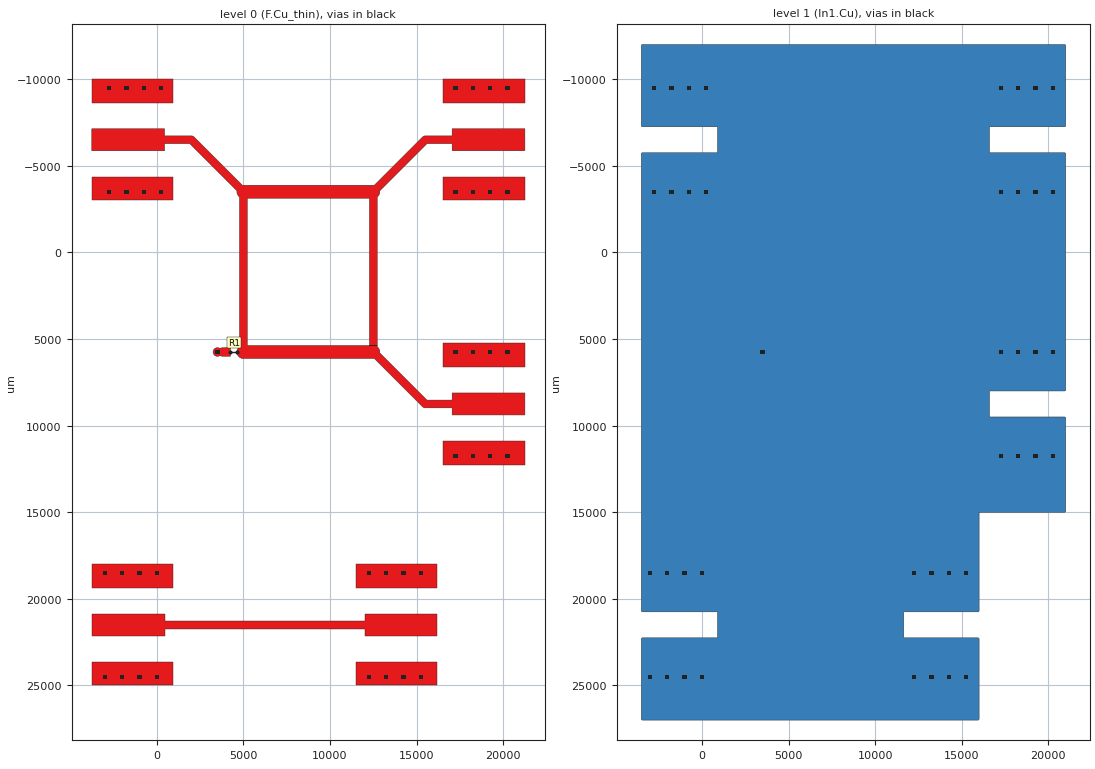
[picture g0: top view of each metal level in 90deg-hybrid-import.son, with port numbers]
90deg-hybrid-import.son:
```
FTYP SONPROJ 19 ! Sonnet Project File
VER 18.56
HEADER
LIC antikernel2.1.51813
DAT 11/28/2022 20:46:58
BUILT_BY_CREATED xgeom 18.56 11/27/2022 18:54:38
BUILT_BY_SAVED sonnet 18.56
MDATE 11/28/2022 20:46:58
HDATE 11/28/2022 20:46:58
ANN Created by dxfgeo, Sonnet Software Inc.
END HEADER
DIM
ANG DEG
CAP PF
CON /OH
FREQ GHZ
IND NH
LNG UM
RES OH
END DIM
CONTROL
VARSWP
OPTIONS  -dj
SPEED 0
CACHE_ABS 2
Q_ACC N
END CONTROL
GEO
STF ../../sonnet-techfiles/oshpark/4l/oshpark-4l-nosoldermask.stf
TMET "Free Space" 0 FREESPACE 376.7303136 0 0 0
BMET "Free Space" 0 FREESPACE 376.7303136 0 0 0
BOX 0 17500 15000 1400 1200 20 0
LORGN 0 15000 U 
SMD 0 "R1"
ID 92
GNDREF AUTO
SBOX 4343.75 4531.25 5656.25 5843.75
PBSHW N
LPOS 4437.5 5656.25
TYPE SPARAM 1
SMDP 0 4250 5750 L 1 1 
EXSMDP
GNDREF AUTO
TERMW FEED
END EXSMDP
SMDP 0 4625 5750 R 2 2 
EXSMDP
GNDREF AUTO
TERMW FEED
END EXSMDP
END
NUM 55
0 5 1 N 6 1 1 100 100 0 0 0 Y
TLAYNAM F.Cu_thin INH
USER_DAT FromImport
16550 12250
16550 10900
21250 10900
21250 12250
16550 12250
END
0 5 1 N 5 1 1 100 100 0 0 0 Y
TLAYNAM F.Cu_thin INH
USER_DAT FromImport
11500 19350
11500 18000
16200 18000
16200 19350
11500 19350
END
0 5 1 N 13 1 1 100 100 0 0 0 Y
TLAYNAM F.Cu_thin INH
USER_DAT FromImport
-3750 -8650
-3750 -10000
950 -10000
950 -8650
-3750 -8650
END
0 5 1 N 14 1 1 100 100 0 0 0 Y
TLAYNAM F.Cu_thin INH
USER_DAT FromImport
16550 -8650
16550 -10000
21250 -10000
21250 -8650
16550 -8650
END
0 5 1 N 2 1 1 100 100 0 0 0 Y
TLAYNAM F.Cu_thin INH
USER_DAT FromImport
11500 25000
11500 23650
16200 23650
16200 25000
11500 25000
END
0 13 1 N 3 1 1 100 100 0 0 0 Y
TLAYNAM F.Cu_thin INH
USER_DAT FromImport
-3750 22135
-3750 20865
450 20865
450 21275
12000 21275
12000 20865
16200 20865
16200 22135
12000 22135
12000 21725
450 21725
450 22135
-3750 22135
END
0 5 1 N 9 1 1 100 100 0 0 0 Y
TLAYNAM F.Cu_thin INH
USER_DAT FromImport
-3750 -3000
-3750 -4350
950 -4350
950 -3000
-3750 -3000
END
0 51 1 N 7 1 1 100 100 0 0 0 Y
TLAYNAM F.Cu_thin INH
USER_DAT FromImport
3488 6000
3463 5997
3439 5993
3416 5985
3393 5976
3371 5964
3351 5951
3332 5935
3315 5918
3299 5899
3286 5879
3274 5857
3265 5834
3257 5811
3253 5787
3250 5762
3250 5738
3253 5713
3257 5689
3265 5666
3274 5643
3286 5621
3299 5601
3315 5582
3332 5565
3351 5549
3371 5536
3393 5524
3416 5515
3439 5507
3463 5503
3488 5500
3512 5500
3537 5503
3561 5507
3584 5515
3607 5524
3609 5525
3750 5525
3750 5500
4250 5500
4250 6000
3750 6000
3750 5975
3609 5975
3607 5976
3584 5985
3561 5993
3537 5997
3512 6000
3488 6000
END
0 5 1 N 10 1 1 100 100 0 0 0 Y
TLAYNAM F.Cu_thin INH
USER_DAT FromImport
16550 -3000
16550 -4350
21250 -4350
21250 -3000
16550 -3000
END
0 121 1 N 90 1 1 100 100 0 0 0 Y
TLAYNAM F.Cu_thin INH
USER_DAT FromImport
21250 8115
17050 8115
17050 8525
15593 8525
12871 5803
12875 5768
12875 5732
12871 5695
12864 5659
12854 5624
12839 5589
12822 5557
12802 5526
12778 5498
12752 5472
12725 5449
12725 5375
12275 5375
5225 5375
5225 -3125
12275 -3125
12275 5375
12725 5375
12725 -3199
12752 -3222
12778 -3248
12802 -3276
12822 -3307
12839 -3339
12854 -3374
12864 -3409
12871 -3445
12875 -3482
12875 -3518
12871 -3553
15593 -6275
17050 -6275
17050 -5865
21250 -5865
21250 -7135
17050 -7135
17050 -6725
15489 -6725
15467 -6723
15445 -6719
15424 -6712
15404 -6704
15384 -6693
15366 -6681
15349 -6667
12553 -3871
12518 -3875
4982 -3875
4947 -3871
2151 -6667
2134 -6681
2116 -6693
2096 -6704
2076 -6712
2055 -6719
2033 -6723
2011 -6725
450 -6725
450 -7135
-3750 -7135
-3750 -5865
450 -5865
450 -6275
1907 -6275
4629 -3553
4625 -3518
4625 -3482
4629 -3445
4636 -3409
4646 -3374
4661 -3339
4678 -3307
4698 -3276
4722 -3248
4748 -3222
4775 -3199
4775 5449
4748 5472
4722 5498
4698 5526
4678 5557
4661 5589
4646 5624
4636 5659
4629 5695
4625 5732
4625 5768
4629 5805
4636 5841
4646 5876
4661 5911
4678 5943
4698 5974
4722 6002
4748 6028
4776 6052
4807 6072
4839 6089
4874 6104
4909 6114
4945 6121
4982 6125
12518 6125
12553 6121
15349 8917
15366 8931
15384 8943
15404 8954
15424 8962
15445 8969
15467 8973
15489 8975
17050 8975
17050 9385
21250 9385
21250 8115
END
0 5 1 N 8 1 1 100 100 0 0 0 Y
TLAYNAM F.Cu_thin INH
USER_DAT FromImport
16550 6600
16550 5250
21250 5250
21250 6600
16550 6600
END
0 5 1 N 1 1 1 100 100 0 0 0 Y
TLAYNAM F.Cu_thin INH
USER_DAT FromImport
-3750 25000
-3750 23650
950 23650
950 25000
-3750 25000
END
0 5 1 N 4 1 1 100 100 0 0 0 Y
TLAYNAM F.Cu_thin INH
USER_DAT FromImport
-3750 19350
-3750 18000
950 18000
950 19350
-3750 19350
END
VIA POLYGON
0 5 -1 N 35 1 1 100 100 0 0 0 Y
TOLEVEL 3 RING NOCOVERS
TLAYNAM Via1 INH
USER_DAT FromImport
20125 11875
20125 11625
20375 11625
20375 11875
20125 11875
END
VIA POLYGON
0 5 -1 N 32 1 1 100 100 0 0 0 Y
TOLEVEL 3 RING NOCOVERS
TLAYNAM Via1 INH
USER_DAT FromImport
17125 11875
17125 11625
17375 11625
17375 11875
17125 11875
END
VIA POLYGON
0 5 -1 N 33 1 1 100 100 0 0 0 Y
TOLEVEL 3 RING NOCOVERS
TLAYNAM Via1 INH
USER_DAT FromImport
18125 11875
18125 11625
18375 11625
18375 11875
18125 11875
END
VIA POLYGON
0 5 -1 N 22 1 1 100 100 0 0 0 Y
TOLEVEL 3 RING NOCOVERS
TLAYNAM Via1 INH
USER_DAT FromImport
14125 24625
14125 24375
14375 24375
14375 24625
14125 24625
END
VIA POLYGON
0 5 -1 N 53 1 1 100 100 0 0 0 Y
TOLEVEL 3 RING NOCOVERS
TLAYNAM Via1 INH
USER_DAT FromImport
17125 -9375
17125 -9625
17375 -9625
17375 -9375
17125 -9375
END
VIA POLYGON
0 5 -1 N 42 1 1 100 100 0 0 0 Y
TOLEVEL 3 RING NOCOVERS
TLAYNAM Via1 INH
USER_DAT FromImport
-1875 -3375
-1875 -3625
-1625 -3625
-1625 -3375
-1875 -3375
END
VIA POLYGON
0 5 -1 N 17 1 1 100 100 0 0 0 Y
TOLEVEL 3 RING NOCOVERS
TLAYNAM Via1 INH
USER_DAT FromImport
-2125 24625
-2125 24375
-1875 24375
-1875 24625
-2125 24625
END
VIA POLYGON
0 5 -1 N 38 1 1 100 100 0 0 0 Y
TOLEVEL 3 RING NOCOVERS
TLAYNAM Via1 INH
USER_DAT FromImport
18125 5875
18125 5625
18375 5625
18375 5875
18125 5875
END
VIA POLYGON
0 5 -1 N 16 1 1 100 100 0 0 0 Y
TOLEVEL 3 RING NOCOVERS
TLAYNAM Via1 INH
USER_DAT FromImport
-3125 24625
-3125 24375
-2875 24375
-2875 24625
-3125 24625
END
VIA POLYGON
0 5 -1 N 47 1 1 100 100 0 0 0 Y
TOLEVEL 3 RING NOCOVERS
TLAYNAM Via1 INH
USER_DAT FromImport
19125 -3375
19125 -3625
19375 -3625
19375 -3375
19125 -3375
END
VIA POLYGON
0 5 -1 N 27 1 1 100 100 0 0 0 Y
TOLEVEL 3 RING NOCOVERS
TLAYNAM Via1 INH
USER_DAT FromImport
-125 18625
-125 18375
125 18375
125 18625
-125 18625
END
VIA POLYGON
0 5 -1 N 54 1 1 100 100 0 0 0 Y
TOLEVEL 3 RING NOCOVERS
TLAYNAM Via1 INH
USER_DAT FromImport
18125 -9375
18125 -9625
18375 -9625
18375 -9375
18125 -9375
END
VIA POLYGON
0 5 -1 N 50 1 1 100 100 0 0 0 Y
TOLEVEL 3 RING NOCOVERS
TLAYNAM Via1 INH
USER_DAT FromImport
-1875 -9375
-1875 -9625
-1625 -9625
-1625 -9375
-1875 -9375
END
VIA POLYGON
0 5 -1 N 34 1 1 100 100 0 0 0 Y
TOLEVEL 3 RING NOCOVERS
TLAYNAM Via1 INH
USER_DAT FromImport
19125 11875
19125 11625
19375 11625
19375 11875
19125 11875
END
VIA POLYGON
0 5 -1 N 48 1 1 100 100 0 0 0 Y
TOLEVEL 3 RING NOCOVERS
TLAYNAM Via1 INH
USER_DAT FromImport
20125 -3375
20125 -3625
20375 -3625
20375 -3375
20125 -3375
END
VIA POLYGON
0 5 -1 N 52 1 1 100 100 0 0 0 Y
TOLEVEL 3 RING NOCOVERS
TLAYNAM Via1 INH
USER_DAT FromImport
125 -9375
125 -9625
375 -9625
375 -9375
125 -9375
END
VIA POLYGON
0 5 -1 N 45 1 1 100 100 0 0 0 Y
TOLEVEL 3 RING NOCOVERS
TLAYNAM Via1 INH
USER_DAT FromImport
17125 -3375
17125 -3625
17375 -3625
17375 -3375
17125 -3375
END
VIA POLYGON
0 5 -1 N 18 1 1 100 100 0 0 0 Y
TOLEVEL 3 RING NOCOVERS
TLAYNAM Via1 INH
USER_DAT FromImport
-1125 24625
-1125 24375
-875 24375
-875 24625
-1125 24625
END
VIA POLYGON
0 5 -1 N 39 1 1 100 100 0 0 0 Y
TOLEVEL 3 RING NOCOVERS
TLAYNAM Via1 INH
USER_DAT FromImport
19125 5875
19125 5625
19375 5625
19375 5875
19125 5875
END
VIA POLYGON
0 5 -1 N 24 1 1 100 100 0 0 0 Y
TOLEVEL 3 RING NOCOVERS
TLAYNAM Via1 INH
USER_DAT FromImport
-3125 18625
-3125 18375
-2875 18375
-2875 18625
-3125 18625
END
VIA POLYGON
0 5 -1 N 51 1 1 100 100 0 0 0 Y
TOLEVEL 3 RING NOCOVERS
TLAYNAM Via1 INH
USER_DAT FromImport
-875 -9375
-875 -9625
-625 -9625
-625 -9375
-875 -9375
END
VIA POLYGON
0 5 -1 N 26 1 1 100 100 0 0 0 Y
TOLEVEL 3 RING NOCOVERS
TLAYNAM Via1 INH
USER_DAT FromImport
-1125 18625
-1125 18375
-875 18375
-875 18625
-1125 18625
END
VIA POLYGON
0 5 -1 N 44 1 1 100 100 0 0 0 Y
TOLEVEL 3 RING NOCOVERS
TLAYNAM Via1 INH
USER_DAT FromImport
125 -3375
125 -3625
375 -3625
375 -3375
125 -3375
END
VIA POLYGON
0 5 -1 N 49 1 1 100 100 0 0 0 Y
TOLEVEL 3 RING NOCOVERS
TLAYNAM Via1 INH
USER_DAT FromImport
-2875 -9375
-2875 -9625
-2625 -9625
-2625 -9375
-2875 -9375
END
VIA POLYGON
0 5 -1 N 29 1 1 100 100 0 0 0 Y
TOLEVEL 3 RING NOCOVERS
TLAYNAM Via1 INH
USER_DAT FromImport
13125 18625
13125 18375
13375 18375
13375 18625
13125 18625
END
VIA POLYGON
0 5 -1 N 30 1 1 100 100 0 0 0 Y
TOLEVEL 3 RING NOCOVERS
TLAYNAM Via1 INH
USER_DAT FromImport
14125 18625
14125 18375
14375 18375
14375 18625
14125 18625
END
VIA POLYGON
0 5 -1 N 37 1 1 100 100 0 0 0 Y
TOLEVEL 3 RING NOCOVERS
TLAYNAM Via1 INH
USER_DAT FromImport
17125 5875
17125 5625
17375 5625
17375 5875
17125 5875
END
VIA POLYGON
0 5 -1 N 55 1 1 100 100 0 0 0 Y
TOLEVEL 3 RING NOCOVERS
TLAYNAM Via1 INH
USER_DAT FromImport
19125 -9375
19125 -9625
19375 -9625
19375 -9375
19125 -9375
END
VIA POLYGON
0 5 -1 N 28 1 1 100 100 0 0 0 Y
TOLEVEL 3 RING NOCOVERS
TLAYNAM Via1 INH
USER_DAT FromImport
12125 18625
12125 18375
12375 18375
12375 18625
12125 18625
END
VIA POLYGON
0 5 -1 N 23 1 1 100 100 0 0 0 Y
TOLEVEL 3 RING NOCOVERS
TLAYNAM Via1 INH
USER_DAT FromImport
15125 24625
15125 24375
15375 24375
15375 24625
15125 24625
END
VIA POLYGON
0 5 -1 N 46 1 1 100 100 0 0 0 Y
TOLEVEL 3 RING NOCOVERS
TLAYNAM Via1 INH
USER_DAT FromImport
18125 -3375
18125 -3625
18375 -3625
18375 -3375
18125 -3375
END
VIA POLYGON
0 5 -1 N 43 1 1 100 100 0 0 0 Y
TOLEVEL 3 RING NOCOVERS
TLAYNAM Via1 INH
USER_DAT FromImport
-875 -3375
-875 -3625
-625 -3625
-625 -3375
-875 -3375
END
VIA POLYGON
0 5 -1 N 56 1 1 100 100 0 0 0 Y
TOLEVEL 3 RING NOCOVERS
TLAYNAM Via1 INH
USER_DAT FromImport
20125 -9375
20125 -9625
20375 -9625
20375 -9375
20125 -9375
END
VIA POLYGON
0 5 -1 N 31 1 1 100 100 0 0 0 Y
TOLEVEL 3 RING NOCOVERS
TLAYNAM Via1 INH
USER_DAT FromImport
15125 18625
15125 18375
15375 18375
15375 18625
15125 18625
END
VIA POLYGON
0 5 -1 N 41 1 1 100 100 0 0 0 Y
TOLEVEL 3 RING NOCOVERS
TLAYNAM Via1 INH
USER_DAT FromImport
-2875 -3375
-2875 -3625
-2625 -3625
-2625 -3375
-2875 -3375
END
VIA POLYGON
0 5 -1 N 25 1 1 100 100 0 0 0 Y
TOLEVEL 3 RING NOCOVERS
TLAYNAM Via1 INH
USER_DAT FromImport
-2125 18625
-2125 18375
-1875 18375
-1875 18625
-2125 18625
END
VIA POLYGON
0 5 -1 N 21 1 1 100 100 0 0 0 Y
TOLEVEL 3 RING NOCOVERS
TLAYNAM Via1 INH
USER_DAT FromImport
13125 24625
13125 24375
13375 24375
13375 24625
13125 24625
END
VIA POLYGON
0 5 -1 N 19 1 1 100 100 0 0 0 Y
TOLEVEL 3 RING NOCOVERS
TLAYNAM Via1 INH
USER_DAT FromImport
-125 24625
-125 24375
125 24375
125 24625
-125 24625
END
VIA POLYGON
0 5 -1 N 40 1 1 100 100 0 0 0 Y
TOLEVEL 3 RING NOCOVERS
TLAYNAM Via1 INH
USER_DAT FromImport
20125 5875
20125 5625
20375 5625
20375 5875
20125 5875
END
VIA POLYGON
0 5 -1 N 20 1 1 100 100 0 0 0 Y
TOLEVEL 3 RING NOCOVERS
TLAYNAM Via1 INH
USER_DAT FromImport
12125 24625
12125 24375
12375 24375
12375 24625
12125 24625
END
VIA POLYGON
0 5 -1 N 36 1 1 100 100 0 0 0 Y
TOLEVEL 3 RING NOCOVERS
TLAYNAM Via1 INH
USER_DAT FromImport
3375 5875
3375 5625
3625 5625
3625 5875
3375 5875
END
1 57 2 N 15 1 1 100 100 0 0 0 Y
TLAYNAM In1.Cu INH
USER_DAT FromImport
-3438 27000
-3482 26982
-3500 26939
-3500 22312
-3482 22268
-3438 22250
900 22250
900 20750
-3438 20750
-3482 20732
-3500 20689
-3500 -5688
-3482 -5732
-3438 -5750
900 -5750
900 -7250
-3438 -7250
-3482 -7268
-3500 -7311
-3500 -11938
-3482 -11982
-3438 -12000
20939 -12000
20982 -11982
21000 -11938
21000 -7311
20982 -7268
20939 -7250
16600 -7250
16600 -5750
20939 -5750
20982 -5732
21000 -5688
21000 7939
20982 7982
20939 8000
16600 8000
16600 9500
20939 9500
20982 9518
21000 9562
21000 14939
20982 14982
20939 15000
16000 15000
16000 20689
15982 20732
15939 20750
11650 20750
11650 22250
15939 22250
15982 22268
16000 22312
16000 26939
15982 26982
15939 27000
-3438 27000
END
END GEO
OPT
MAX 100
END OPT
VARSWP
ENABLED Y
FREQ Y AY ABS_ENTRY 0.1 8.5 -1 300 
END
END VARSWP
SMDFILES
1 "../../../../../../bulk/datasheets/Vishay/Resistors/FC/0402/FC0402-FlipChip-50 Ohm.s2p"
END SMDFILES
```
